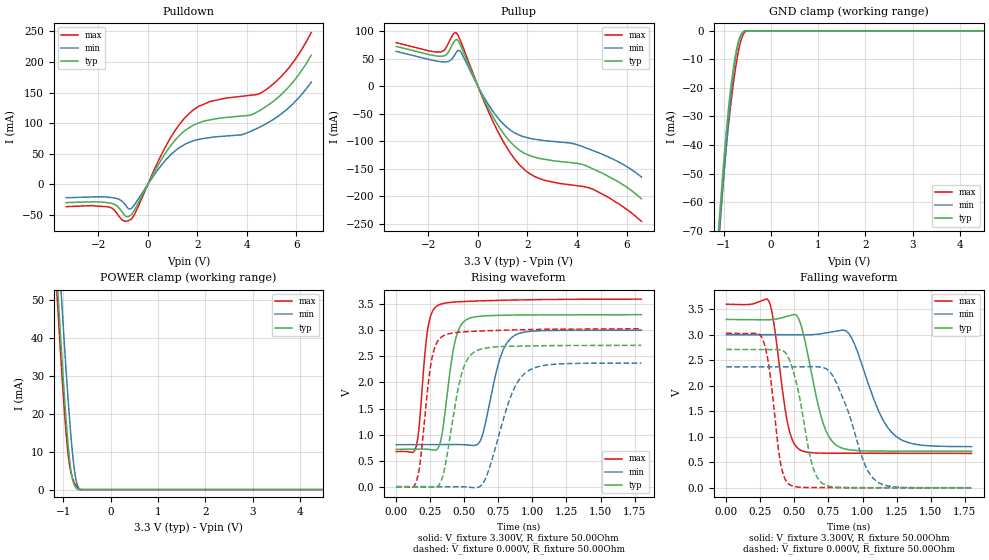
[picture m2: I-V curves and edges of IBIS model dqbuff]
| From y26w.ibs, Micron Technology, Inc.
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|   dqbuff MODEL
[Model]   dqbuff
Model_type   I/O
Vinl = 800.000mV
Vinh = 2.000V
Vmeas = 1.500V
Cref = 30.000pF
|   typ   min   max
C_comp   4.350pF   3.580pF   4.870pF
[Voltage Range]   3.300V   3.000V   3.600V
[Temperature Range]   25.0   85.0   0.0
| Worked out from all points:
|   slope of the pulldown table from 0 to 0.495 V, typ, clamps not added: 13.4 ohm
|   slope of the pullup table from 0 to 0.495 V, typ, clamps not added: 10.7 ohm
|   GND clamp passes 1 mA (typ) near -0.62 V on its own axis
|   POWER clamp passes 1 mA (typ) near -0.76 V on its own axis
|   falling waveform, V_fixture 3.300V, R_fixture 50.00Ohm: 20-80 % time 130ps typ, 192ps min, 90.1ps max; typ from 3.3 V to 0.715 V
|   rising waveform, V_fixture 3.300V, R_fixture 50.00Ohm: 20-80 % time 82.4ps typ, 119ps min, 59ps max; typ from 0.715 V to 3.3 V
|   rising waveform, V_fixture 0.000V, R_fixture 50.00Ohm: 20-80 % time 111ps typ, 170ps min, 77.4ps max; typ from -0.004 V to 2.71 V
|   falling waveform, V_fixture 0.000V, R_fixture 50.00Ohm: 20-80 % time 118ps typ, 181ps min, 80ps max; typ from 2.71 V to -0.004 V
[Pulldown]
|   Voltage   I(typ)   I(min)   I(max)
-3.3V     -29.68mA   -21.77mA   -36.36mA
-1.49V    -30.62mA   NA         NA
-1.25V    -34.79mA   NA         NA
-930mV    -50.85mA   NA         NA
-670mV    -49.77mA   NA         NA
610mV     44.7mA     NA         NA
1.51V     88.4mA     NA         NA
2.29V     103.8mA    NA         NA
4.11V     112.9mA    NA         NA
4.83V     128.6mA    NA         NA
5.87V     167.5mA    NA         NA
6.6V      210.7mA    167.1mA    248mA
[GND Clamp]
|   Voltage   I(typ)   I(min)   I(max)
-3.3V     -611.7mA   -564mA     -669.5mA
-1.13V    -75.21mA   NA         NA
-1.07V    -61.76mA   NA         NA
-990mV    -44.8mA    NA         NA
-910mV    -29.78mA   -34.2mA    NA
-850mV    -20.45mA   NA         -26.15mA
-770mV    -10.73mA   NA         NA
-730mV    -7.007mA   -7.532mA   NA
-670mV    -2.977mA   NA         NA
-630mV    -1.322mA   -1.415mA   NA
-550mV    0A         NA         NA
6.6V      0A         0A         0A
[Pullup]
|   Voltage   I(typ)   I(min)   I(max)
-3.3V     72.26mA    63.24mA    79.08mA
-1.43V    54.38mA    NA         NA
-1.17V    63.28mA    NA         NA
-970mV    80.36mA    NA         NA
-850mV    84.67mA    NA         NA
-710mV    75.27mA    NA         NA
670mV     -60.54mA   NA         NA
1.69V     -116.5mA   NA         NA
2.45V     -130.7mA   NA         NA
4.37V     -144.3mA   NA         NA
5.67V     -173.5mA   NA         NA
6.6V      -204.1mA   -164.7mA   -245.1mA
[POWER Clamp]
|   Voltage   I(typ)   I(min)   I(max)
-3.3V     567.3mA    574.4mA    567.1mA
-1.15V    59.91mA    NA         NA
-1.11V    51.4mA     NA         NA
-1.05V    39.02mA    53.13mA    NA
-1.03V    35.02mA    NA         NA
-950mV    20.09mA    33.32mA    NA
-910mV    13.62mA    NA         NA
-870mV    8.249mA    19.09mA    NA
-830mV    4.369mA    12.94mA    NA
-770mV    1.316mA    5.681mA    NA
-690mV    0A         809.7uA    NA
6.6V      0A         0A         0A
[Ramp]
R_load = 50.00Ohm
|   typ   min   max
dV/dt_r   1.631V/111.478ps   1.428V/169.956ps   1.821V/77.390ps
dV/dt_f   1.553V/129.561ps   1.320V/192.114ps   1.759V/90.089ps
[Falling Waveform]
V_fixture = 3.300V
V_fixture_min = 3.000V
V_fixture_max = 3.600V
R_fixture = 50.00Ohm
|   Time   V(typ)   V(min)   V(max)
0s        3.303V     3.005V     3.602V
290ps     3.297V     NA         NA
320ps     3.299V     NA         NA
500ps     3.402V     NA         NA
540ps     3.256V     NA         NA
710ps     1.268V     NA         NA
810ps     827.8mV    NA         NA
900ps     743.1mV    NA         NA
1.19ns    715.8mV    NA         NA
1.8ns     715mV      804.1mV    671.3mV
[Rising Waveform]
V_fixture = 3.300V
V_fixture_min = 3.000V
V_fixture_max = 3.600V
R_fixture = 50.00Ohm
|   Time   V(typ)   V(min)   V(max)
0s        715mV      804.1mV    671.3mV
200ps     719.5mV    NA         NA
240ps     714.7mV    NA         NA
300ps     715mV      NA         NA
430ps     2.771V     NA         NA
510ps     3.198V     NA         NA
590ps     3.267V     NA         NA
730ps     3.289V     NA         NA
870ps     3.296V     NA         NA
1.8ns     3.303V     3.005V     3.602V
[Rising Waveform]
V_fixture = 0.000V
V_fixture_min = 0.000V
V_fixture_max = 0.000V
R_fixture = 50.00Ohm
|   Time   V(typ)   V(min)   V(max)
0s        -3.851mV   -5.797mV   -2.539mV
220ps     -706.4uV   NA         NA
290ps     -20.16mV   NA         NA
340ps     180.4mV    NA         NA
470ps     2.063V     NA         NA
570ps     2.581V     NA         NA
670ps     2.669V     NA         NA
810ps     2.695V     NA         NA
1.15ns    2.71V      NA         NA
1.8ns     2.714V     2.374V     3.032V
[Falling Waveform]
V_fixture = 0.000V
V_fixture_min = 0.000V
V_fixture_max = 0.000V
R_fixture = 50.00Ohm
|   Time   V(typ)   V(min)   V(max)
0s        2.714V     2.374V     3.032V
380ps     2.712V     NA         NA
400ps     2.705V     NA         NA
470ps     2.462V     NA         NA
530ps     1.878V     NA         NA
630ps     450.3mV    NA         NA
710ps     74.02mV    NA         NA
810ps     6.637mV    NA         NA
1.03ns    -3.106mV   NA         NA
1.8ns     -3.851mV   -5.797mV   -2.539mV
